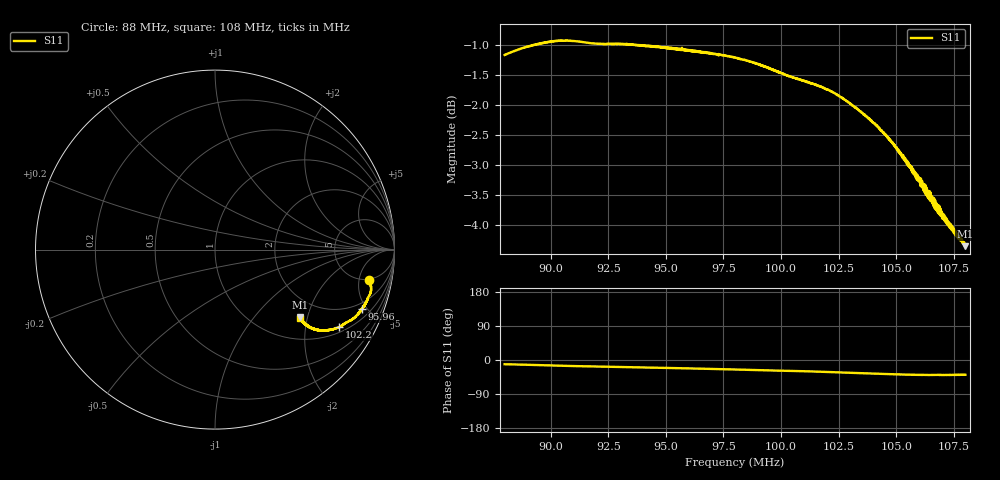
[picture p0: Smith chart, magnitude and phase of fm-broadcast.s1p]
! Calibrated averaged scanner-service zoom
# Hz S RI R 50
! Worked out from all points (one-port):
!   2001 points, 88 MHz to 108 MHz, reference 50 ohm
!   lowest |S11| = -4.4 dB at 108 MHz (marker M1), VSWR 4.07, Z = 75.3 - j89.9 ohm
!   |S11| at or under -10 dB: nowhere
!   S11 on the Smith chart (normalised r, x): 88 MHz: 4.81, -6.94; 95.96 MHz: 1.55, -4.62; 102.2 MHz: 1.19, -3.08; 108 MHz: 1.48, -1.80
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8.8e7  0.8582 -0.1695
8.869e7  0.8658 -0.1865
8.929e7  0.8691 -0.2027
9e7  0.8699 -0.222
9.05e7  0.868 -0.2358
9.139e7  0.8596 -0.256
9.194e7  0.8543 -0.2645
9.3e7  0.8476 -0.2826
9.55e7  0.8234 -0.3256
9.596e7  0.8171 -0.3318
9.723e7  0.8014 -0.354
9.8e7  0.7891 -0.368
9.918e7  0.7633 -0.3896
1.005e8  0.7336 -0.4049
1.0141e8  0.7142 -0.4182
1.0215e8  0.693 -0.4314
1.03e8  0.663 -0.4427
1.0374e8  0.6341 -0.4486
1.0445e8  0.604 -0.451
1.0504e8  0.5751 -0.4496
1.055e8  0.555 -0.4428
1.0616e8  0.5294 -0.4317
1.0633e8  0.5152 -0.4247
1.0671e8  0.5018 -0.4128
1.0726e8  0.4874 -0.4005
1.0787e8  0.4758 -0.3801
1.0797e8  0.4731 -0.3779
1.08e8  0.4716 -0.3832
